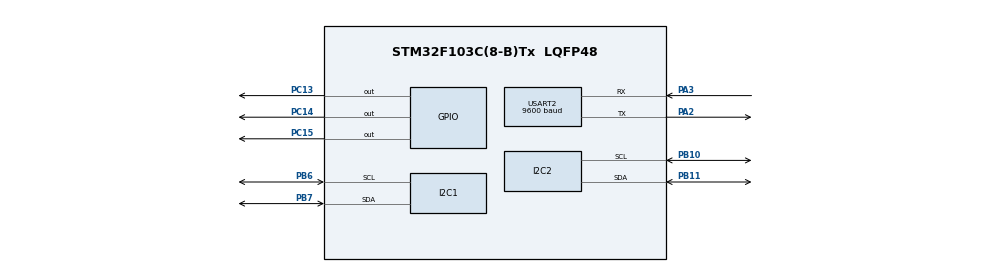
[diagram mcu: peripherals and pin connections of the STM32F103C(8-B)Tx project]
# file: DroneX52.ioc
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Mcu.Family=STM32F1
Mcu.Name=STM32F103C(8-B)Tx
Mcu.Package=LQFP48
NVIC.PriorityGroup=NVIC_PRIORITYGROUP_4
NVIC.USART2_IRQn=true\:0\:0\:false\:false\:true\:true\:true\:true
PA10.Signal=S_TIM1_CH3
PA11.Signal=S_TIM1_CH4
PA13.Mode=Serial_Wire
PA13.Signal=SYS_JTMS-SWDIO
PA14.Mode=Serial_Wire
PA14.Signal=SYS_JTCK-SWCLK
PA2.Mode=Asynchronous
PA2.Signal=USART2_TX
PA3.Mode=Asynchronous
PA3.Signal=USART2_RX
PA8.Signal=S_TIM1_CH1
PA9.Signal=S_TIM1_CH2
PB10.Mode=I2C
PB10.Signal=I2C2_SCL
PB11.Mode=I2C
PB11.Signal=I2C2_SDA
PB6.Mode=I2C
PB6.Signal=I2C1_SCL
PB7.Mode=I2C
PB7.Signal=I2C1_SDA
PC13-TAMPER-RTC.Signal=GPIO_Output
PC14-OSC32_IN.Signal=GPIO_Output
PC15-OSC32_OUT.Signal=GPIO_Output
ProjectManager.HeapSize=0x200
ProjectManager.StackSize=0x400
ProjectManager.TargetToolchain=STM32CubeIDE
RCC.APB1Freq_Value=8000000
RCC.APB2Freq_Value=8000000
RCC.USBFreq_Value=8000000
SH.S_TIM1_CH1.0=TIM1_CH1
SH.S_TIM1_CH2.0=TIM1_CH2
SH.S_TIM1_CH3.0=TIM1_CH3
SH.S_TIM1_CH4.0=TIM1_CH4
USART2.BaudRate=9600
USART2.VirtualMode=VM_ASYNC
VP_TIM1_VS_ClockSourceITR.Mode=TriggerSource_ITR0
board=custom

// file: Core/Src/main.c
/* USER CODE BEGIN Header */
/**
  ******************************************************************************
  * @file           : main.c
  * @brief          : Main program body
  ******************************************************************************
  * @attention
  *
  * Copyright (c) 2024 STMicroelectronics.
  * All rights reserved.
  *
  * This software is licensed under terms that can be found in the LICENSE file
  * in the root directory of this software component.
  * If no LICENSE file comes with this software, it is provided AS-IS.
  *
  ******************************************************************************
  */
/* USER CODE END Header */
#include "main.h"

/* USER CODE BEGIN Includes */
#include "stm32f1xx_hal.h"
#include <string.h>
#include <stdio.h>
#include "controller.h"
#include "motor.h"
#include "UART.h"
#include "BMP280.h"
#include "MPU6050.h"
#include "PID.h"
/* USER CODE END Includes */

I2C_HandleTypeDef hi2c1;
I2C_HandleTypeDef hi2c2;

TIM_HandleTypeDef htim1;

UART_HandleTypeDef huart2;

/* USER CODE BEGIN PV */
#define RX_BUFFER_SIZE  50
uint8_t rx_buffer[RX_BUFFER_SIZE];
static uint8_t bufferIndex=0;
MPU6050_HandleTypeDef mpu;
/* USER CODE END PV */

void SystemClock_Config(void);
static void MX_GPIO_Init(void);
static void MX_TIM1_Init(void);
static void MX_USART2_UART_Init(void);
static void MX_I2C2_Init(void);
static void MX_I2C1_Init(void);

/* USER CODE BEGIN 0 */
void pair(void);

/* USER CODE END 0 */

int main(void)
{

  /* MCU Configuration--------------------------------------------------------*/

  /* Reset of all peripherals, Initializes the Flash interface and the Systick. */
  HAL_Init();

  /* Configure the system clock */
  SystemClock_Config();

  /* Initialize all configured peripherals */
  MX_GPIO_Init();
  MX_TIM1_Init();
  MX_USART2_UART_Init();
  MX_I2C2_Init();
  MX_I2C1_Init();

  /* USER CODE BEGIN 2 */
  Motor_Init();
  //pair();
  mpu.hi2c = &hi2c2;
  HAL_Delay(2000);
  MPU6050_Init(&mpu);
  HAL_Delay(1000);
  HAL_UART_Receive_IT(&huart2, &rx_buffer[bufferIndex], 1);
  BMP280_Init(&hi2c1);
  HAL_Delay(1000);
  BMP280_CalibData calibData;
  BMP280_ReadCalibrationData(&hi2c1, &calibData);
  HAL_Delay(1000);
  PID_init();
  /* USER CODE END 2 */

  /* Infinite loop */
  while (1)
  {

    /* USER CODE BEGIN 3 */
	  PID_ControlLoop();
	  HAL_Delay(10);
  }
  /* USER CODE END 3 */
}

void SystemClock_Config(void)
{
  RCC_OscInitTypeDef RCC_OscInitStruct = {0};
  RCC_ClkInitTypeDef RCC_ClkInitStruct = {0};

  /** Initializes the RCC Oscillators according to the specified parameters
  * in the RCC_OscInitTypeDef structure.
  */
  RCC_OscInitStruct.OscillatorType = RCC_OSCILLATORTYPE_HSI;
  RCC_OscInitStruct.HSIState = RCC_HSI_ON;
  RCC_OscInitStruct.HSICalibrationValue = RCC_HSICALIBRATION_DEFAULT;
  RCC_OscInitStruct.PLL.PLLState = RCC_PLL_NONE;
  if (HAL_RCC_OscConfig(&RCC_OscInitStruct) != HAL_OK)
  {
    Error_Handler();
  }

  /** Initializes the CPU, AHB and APB buses clocks
  */
  RCC_ClkInitStruct.ClockType = RCC_CLOCKTYPE_HCLK|RCC_CLOCKTYPE_SYSCLK
                              |RCC_CLOCKTYPE_PCLK1|RCC_CLOCKTYPE_PCLK2;
  RCC_ClkInitStruct.SYSCLKSource = RCC_SYSCLKSOURCE_HSI;
  RCC_ClkInitStruct.AHBCLKDivider = RCC_SYSCLK_DIV1;
  RCC_ClkInitStruct.APB1CLKDivider = RCC_HCLK_DIV1;
  RCC_ClkInitStruct.APB2CLKDivider = RCC_HCLK_DIV1;

  if (HAL_RCC_ClockConfig(&RCC_ClkInitStruct, FLASH_LATENCY_0) != HAL_OK)
  {
    Error_Handler();
  }
}

static void MX_I2C1_Init(void)
{

  hi2c1.Instance = I2C1;
  hi2c1.Init.ClockSpeed = 100000;
  hi2c1.Init.DutyCycle = I2C_DUTYCYCLE_2;
  hi2c1.Init.OwnAddress1 = 0;
  hi2c1.Init.AddressingMode = I2C_ADDRESSINGMODE_7BIT;
  hi2c1.Init.DualAddressMode = I2C_DUALADDRESS_DISABLE;
  hi2c1.Init.OwnAddress2 = 0;
  hi2c1.Init.GeneralCallMode = I2C_GENERALCALL_DISABLE;
  hi2c1.Init.NoStretchMode = I2C_NOSTRETCH_DISABLE;
  if (HAL_I2C_Init(&hi2c1) != HAL_OK)
  {
    Error_Handler();
  }

}

static void MX_I2C2_Init(void)
{

  hi2c2.Instance = I2C2;
  hi2c2.Init.ClockSpeed = 100000;
  hi2c2.Init.DutyCycle = I2C_DUTYCYCLE_2;
  hi2c2.Init.OwnAddress1 = 0;
  hi2c2.Init.AddressingMode = I2C_ADDRESSINGMODE_7BIT;
  hi2c2.Init.DualAddressMode = I2C_DUALADDRESS_DISABLE;
  hi2c2.Init.OwnAddress2 = 0;
  hi2c2.Init.GeneralCallMode = I2C_GENERALCALL_DISABLE;
  hi2c2.Init.NoStretchMode = I2C_NOSTRETCH_DISABLE;
  if (HAL_I2C_Init(&hi2c2) != HAL_OK)
  {
    Error_Handler();
  }

}

static void MX_TIM1_Init(void)
{

  TIM_SlaveConfigTypeDef sSlaveConfig = {0};
  TIM_MasterConfigTypeDef sMasterConfig = {0};

  htim1.Instance = TIM1;
  htim1.Init.Prescaler = 0;
  htim1.Init.CounterMode = TIM_COUNTERMODE_UP;
  htim1.Init.Period = 65535;
  htim1.Init.ClockDivision = TIM_CLOCKDIVISION_DIV1;
  htim1.Init.RepetitionCounter = 0;
  htim1.Init.AutoReloadPreload = TIM_AUTORELOAD_PRELOAD_DISABLE;
  if (HAL_TIM_Base_Init(&htim1) != HAL_OK)
  {
    Error_Handler();
  }
  sSlaveConfig.SlaveMode = TIM_SLAVEMODE_DISABLE;
  sSlaveConfig.InputTrigger = TIM_TS_ITR0;
  if (HAL_TIM_SlaveConfigSynchro(&htim1, &sSlaveConfig) != HAL_OK)
  {
    Error_Handler();
  }
  sMasterConfig.MasterOutputTrigger = TIM_TRGO_RESET;
  sMasterConfig.MasterSlaveMode = TIM_MASTERSLAVEMODE_DISABLE;
  if (HAL_TIMEx_MasterConfigSynchronization(&htim1, &sMasterConfig) != HAL_OK)
  {
    Error_Handler();
  }

}

static void MX_USART2_UART_Init(void)
{

  huart2.Instance = USART2;
  huart2.Init.BaudRate = 9600;
  huart2.Init.WordLength = UART_WORDLENGTH_8B;
  huart2.Init.StopBits = UART_STOPBITS_1;
  huart2.Init.Parity = UART_PARITY_NONE;
  huart2.Init.Mode = UART_MODE_TX_RX;
  huart2.Init.HwFlowCtl = UART_HWCONTROL_NONE;
  huart2.Init.OverSampling = UART_OVERSAMPLING_16;
  if (HAL_UART_Init(&huart2) != HAL_OK)
  {
    Error_Handler();
  }

}

static void MX_GPIO_Init(void)
{
  GPIO_InitTypeDef GPIO_InitStruct = {0};

  /* GPIO Ports Clock Enable */
  __HAL_RCC_GPIOC_CLK_ENABLE();
  __HAL_RCC_GPIOA_CLK_ENABLE();
  __HAL_RCC_GPIOB_CLK_ENABLE();

  /*Configure GPIO pin Output Level */
  HAL_GPIO_WritePin(GPIOC, GPIO_PIN_13|GPIO_PIN_14|GPIO_PIN_15, GPIO_PIN_RESET);

  /*Configure GPIO pins : PC13 PC14 PC15 */
  GPIO_InitStruct.Pin = GPIO_PIN_13|GPIO_PIN_14|GPIO_PIN_15;
  GPIO_InitStruct.Mode = GPIO_MODE_OUTPUT_PP;
  GPIO_InitStruct.Pull = GPIO_NOPULL;
  GPIO_InitStruct.Speed = GPIO_SPEED_FREQ_LOW;
  HAL_GPIO_Init(GPIOC, &GPIO_InitStruct);

}

/* USER CODE BEGIN 4 */
void pair() {
//	  // Allow time for modules to stabilize
//		HAL_UART_Transmit(&huart3, (uint8_t*)"AT+UART=9600,1,0\r\n", strlen("AT+UART=9600,1,0\r\n"), HAL_MAX_DELAY);
//	    HAL_Delay(500);
//	    HAL_UART_Transmit(&huart3, (uint8_t*)"AT+ROLE=0\r\n", strlen("AT+ROLE=0\r\n"), HAL_MAX_DELAY);  // Slave mode
//	    HAL_Delay(500);
//	    HAL_UART_Transmit(&huart3, (uint8_t*)"AT+PSWD=1234\r\n", strlen("AT+PSWD=1234\r\n"), HAL_MAX_DELAY);  // Set PIN
//	    HAL_Delay(500);
//	    HAL_UART_Transmit(&huart3, (uint8_t*)"AT+NAME=MySlave\r\n", strlen("AT+NAME=MySlave\r\n"), HAL_MAX_DELAY);  // Optional name
//	    HAL_Delay(500);
//	    // Configure Master (UART2)
//	    HAL_UART_Transmit(&huart2, (uint8_t*)"AT+UART=9600,1,0\r\n", strlen("AT+UART=9600,1,0\r\n"), HAL_MAX_DELAY);
//	    HAL_Delay(500);
//	    HAL_UART_Transmit(&huart2, (uint8_t*)"AT+ROLE=1\r\n", strlen("AT+ROLE=1\r\n"), HAL_MAX_DELAY);  // Master mode
//	    HAL_Delay(500);
//	    HAL_UART_Transmit(&huart2, (uint8_t*)"AT+CMODE=0\r\n", strlen("AT+CMODE=0\r\n"), HAL_MAX_DELAY);  // Pair with specific address
//	    HAL_Delay(500);
//	    HAL_UART_Transmit(&huart2, (uint8_t*)"AT+PSWD=1234\r\n", strlen("AT+PSWD=1234\r\n"), HAL_MAX_DELAY);  // Set PIN
//	    HAL_Delay(500);
//	    HAL_UART_Transmit(&huart2, (uint8_t*)"AT+INIT\r\n", strlen("AT+INIT\r\n"), HAL_MAX_DELAY);  // Initialize
//	    HAL_Delay(500);
//
//	    // Bind to the specific slave address
//	    char bind_cmd[40];
//	    snprintf(bind_cmd, sizeof(bind_cmd), "AT+BIND=00:22:05:00:51:88\r\n");
//	    HAL_UART_Transmit(&huart2, (uint8_t*)bind_cmd, strlen(bind_cmd), HAL_MAX_DELAY);
//	    HAL_Delay(5000);
//
//	    // Attempt to connect to the slave
//	    HAL_UART_Transmit(&huart2, (uint8_t*)"AT+LINK=00:22:05:00:51:88\r\n", strlen("AT+LINK=00:22:05:00:51:88\r\n"), HAL_MAX_DELAY);
//	    HAL_Delay(10000);
//	    // Check connection state
//	    uint8_t buffer[100] = {0};
//	    HAL_UART_Transmit(&huart2, (uint8_t*)"AT+STATE?\r\n", strlen("AT+STATE?\r\n"), HAL_MAX_DELAY);
//	    HAL_UART_Receive(&huart2, buffer, sizeof(buffer), 5000);  // 5-second timeout
//
//	    if (strstr((char*)buffer, "CONNECTED") != NULL) {
//	        HAL_GPIO_WritePin(GPIOB, GPIO_PIN_8, GPIO_PIN_SET);
//	        HAL_GPIO_WritePin(GPIOB, GPIO_PIN_9, GPIO_PIN_RESET); // Turn on connected LED
//	    } else {
//	    	HAL_GPIO_WritePin(GPIOB, GPIO_PIN_9, GPIO_PIN_SET);
//	    	 HAL_UART_Transmit(&huart2, (uint8_t*)"AT+ORGL\r\n", strlen("AT+ORGL\r\n"), HAL_MAX_DELAY);
//	    	 HAL_UART_Transmit(&huart3, (uint8_t*)"AT+ORGL\r\n", strlen("AT+ORGL\r\n"), HAL_MAX_DELAY);
//
//	    }
}

void HAL_UART_RxCpltCallback(UART_HandleTypeDef *huart)
{

    if (huart->Instance == USART2)
    {
    	if(rx_buffer[bufferIndex]=='\n' || rx_buffer[bufferIndex]=='\r' ){
    		rx_buffer[bufferIndex]='\0';
            if (rx_buffer[0] != '#')
            {
                // Clear the buffer
                memset(rx_buffer, 0, sizeof(rx_buffer));
                bufferIndex = 0;
                UART_sendString("Command does not start with '#', clearing buffer.\n");
            }
            else
            {
                Controller_executeCommand((char*)rx_buffer);
                memset(rx_buffer, 0, sizeof(rx_buffer));
                bufferIndex = 0;
            }

    	}
    	else{
    		if(bufferIndex<RX_BUFFER_SIZE-1){
    			bufferIndex++;
    		}
    		else{
    			UART_sendString((char*)"Instruction is too large\n");
    			memset(rx_buffer, 0, sizeof(rx_buffer));
    			bufferIndex=0;
    		}
    	}

    }
    HAL_UART_Receive_IT(&huart2, &rx_buffer[bufferIndex], 1);

}
void UART_send_Char(char data) {
    HAL_UART_Transmit(&huart2, (uint8_t*)&data, 1, HAL_MAX_DELAY);
}
void UART_receive_Data(char* data,uint16_t size)
{
    HAL_UART_Receive(&huart2, (uint8_t*)data, size, 1000);
}

void UART_send_Data(char* data)
{
    HAL_UART_Transmit(&huart2, (uint8_t*)data, strlen(data), 1000);
}
void UART_sendNumber(int32_t TxNumber) {
    // Handle special case for 0
    if (TxNumber == 0) {
        UART_send_Char('0');
        return;
    }

    // Buffer to hold the number as a string
    char buffer[12]; // Enough to hold max int32_t value and null terminator
    int index = 0;

    // Handle negative numbers
    if (TxNumber < 0) {
        UART_send_Char('-');
        TxNumber = -TxNumber; // Make the number positive for further processing
    }

    // Convert number to string in reverse order
    while (TxNumber != 0) {
        buffer[index++] = (TxNumber % 10) + '0';
        TxNumber /= 10;
    }

    // Send the string in correct order
    for (int i = index - 1; i >= 0; i--) {
        UART_send_Char(buffer[i]);
    }
}

void UART_sendString(char *str) {
    while (*str) {
        HAL_UART_Transmit(&huart2, (uint8_t *)str, 1, HAL_MAX_DELAY);
        str++;
    }
}
/* USER CODE END 4 */

void Error_Handler(void)
{
  __disable_irq();
  while (1)
  {
  }
}
